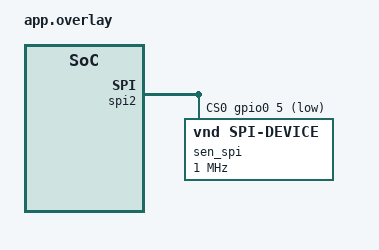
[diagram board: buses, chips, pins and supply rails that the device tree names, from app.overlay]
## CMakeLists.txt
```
cmake_minimum_required(VERSION 3.20.0)

# Load Zephyr build environment
find_package(Zephyr REQUIRED HINTS $ENV{ZEPHYR_BASE})

project(zephyr_spi_demo)

# Target executable source files
target_sources(app PRIVATE src/main.c)
```

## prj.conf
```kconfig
# Enable SPI Driver Subsystem
CONFIG_SPI=y

# Enable Logging Subsystem
CONFIG_LOG=y
CONFIG_LOG_DEFAULT_LEVEL=3

# Serial Console Configuration
CONFIG_SERIAL=y
CONFIG_CONSOLE=y
CONFIG_UART_CONSOLE=y

# Multithreading & Timing
CONFIG_MULTITHREADING=y
CONFIG_SYS_CLOCK_TICKS_PER_SEC=1000
```

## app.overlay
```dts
#include <zephyr/dt-bindings/gpio/gpio.h>
#include <zephyr/dt-bindings/spi/spi.h>

/{
    aliases{
        sensor = &sen_spi;
    };
};

&spi2{
    status = "okay";
    cs-gpios = <&gpio0 5 GPIO_ACTIVE_LOW>;

    sen_spi:sensor@0{
        compatible = "vnd,spi-device";
        reg = <0>;

        spi-max-frequency = <1000000>;
        duplex = <SPI_FULL_DUPLEX>;
        frame-format = <SPI_FRAME_FORMAT_MOTOROLA>;
    };
};
```

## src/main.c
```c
#include <zephyr/kernel.h>
#include <zephyr/logging/log.h>
#include <zephyr/drivers/spi.h>

#define SPI DT_ALIAS(sensor)

#if !DT_NODE_EXISTS(SPI)
#error "No SPI device found"
#endif

LOG_MODULE_REGISTER(app,LOG_LEVEL_INF);

static const struct spi_dt_spec bus = SPI_DT_SPEC_GET(SPI,
    SPI_WORD_SET(8) | SPI_OP_MODE_MASTER | SPI_TRANSFER_MSB, 
    0
);

K_MUTEX_DEFINE(spi_mutex);

int read_register(uint8_t id,uint8_t* var)
{
    int ret;

    uint8_t tx_cmd[2]={id|0x80,0x00};
    uint8_t rx_cmd[2]={0x00,0x00};

    struct spi_buf tx_buf={
        .buf=tx_cmd,
        .len=sizeof(tx_cmd)
    };

    struct spi_buf rx_buf={
        .buf=rx_cmd,
        .len=sizeof(rx_cmd)
    };

    struct spi_buf_set tx_set={
        .buffers=&tx_buf,
        .count=1,
    };

    struct spi_buf_set rx_set={
        .buffers=&rx_buf,
        .count=1,
    };

    k_mutex_lock(&spi_mutex,K_FOREVER);

    ret = spi_transceive_dt(&bus,&tx_set,&rx_set);

    k_mutex_unlock(&spi_mutex);

    if(ret==0)
    {
        *var=rx_cmd[1];
    }

    return ret;

}

int main(void)
{
    int ret;
    uint8_t data;

    LOG_INF("bAVA IS TRYING SPI");
    
    if(!spi_is_ready_dt(&bus))
    {
        return 0;
    }

    while(1)
    {
        ret=read_register(0x00,&data);

        LOG_INF("SENSOR VALUE:%d",data);
        
        if (ret == 0) {
            LOG_INF("SPI Transaction Success %d",ret);
        } else {
            LOG_ERR("SPI Transaction Failed ");
        }

        k_msleep(1000);
    
    }



    return 0;
}
```
